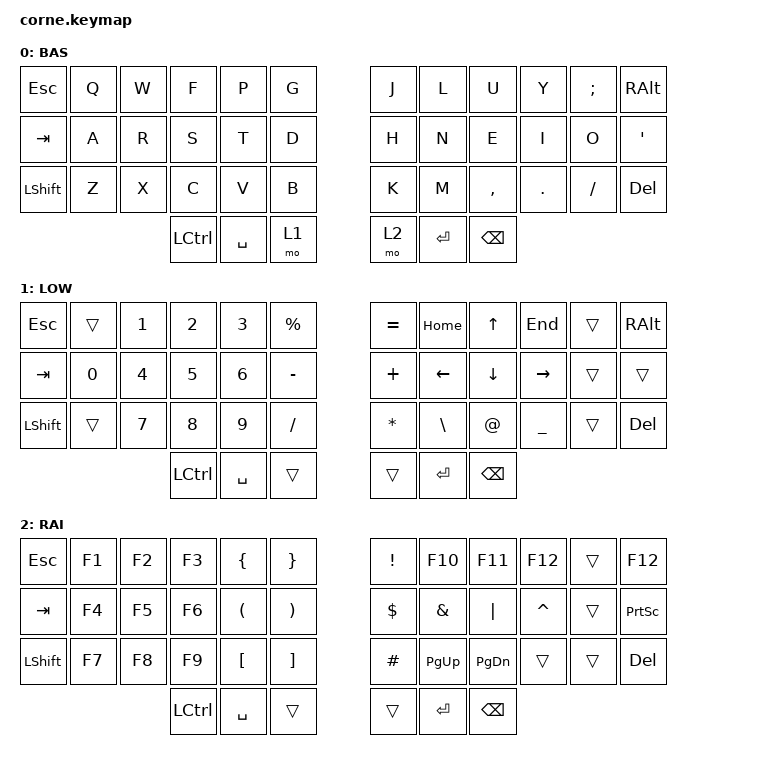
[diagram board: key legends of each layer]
/*
 * Copyright (c) 2020 The ZMK Contributors
 *
 * SPDX-License-Identifier: MIT
 */

#include <dt-bindings/led/led.h>
#include <dt-bindings/zmk/reset.h>
#include <behaviors.dtsi>
#include <dt-bindings/zmk/keys.h>

&led_strip { chain-length = <27>; };

/ {
    keymap {
        compatible = "zmk,keymap";

        default_layer {
            display-name = "BAS";

            // -----------------------------------------------------------------------------------------
            // |  TAB |  Q  |  W  |  E  |  R  |  T  |   |  Y  |  U   |  I  |  O  |  P  | BKSP |
            // | CTRL |  A  |  S  |  D  |  F  |  G  |   |  H  |  J   |  K  |  L  |  ;  |  '   |
            // | SHFT |  Z  |  X  |  C  |  V  |  B  |   |  N  |  M   |  ,  |  .  |  /  | ESC  |
            //                    | GUI | LWR | SPC |   | ENT | RSE  | ALT |

            bindings = <
&kp ESCAPE      &kp Q  &kp W  &kp F             &kp P      &kp G    &kp J  &kp L      &kp U          &kp Y    &kp SEMICOLON  &kp RIGHT_ALT
&kp TAB         &kp A  &kp R  &kp S             &kp T      &kp D    &kp H  &kp N      &kp E          &kp I    &kp O          &kp SQT
&kp LEFT_SHIFT  &kp Z  &kp X  &kp C             &kp V      &kp B    &kp K  &kp M      &kp COMMA      &kp DOT  &kp FSLH       &kp DELETE
                              &kp LEFT_CONTROL  &kp SPACE  &mo 1    &mo 2  &kp ENTER  &kp BACKSPACE
            >;
        };

        lower_layer {
            display-name = "LOW";

            // -----------------------------------------------------------------------------------------
            // |  TAB |  1  |  2  |  3  |  4  |  5  |   |  6  |  7  |  8  |  9  |  0  | BKSP |
            // | BTCLR| BT1 | BT2 | BT3 | BT4 | BT5 |   | LFT | DWN |  UP | RGT |     |      |
            // | SHFT |     |     |     |     |     |   |     |     |     |     |     |      |
            //                    | GUI |     | SPC |   | ENT |     | ALT |

            bindings = <
&kp ESCAPE  &trans  &kp N1  &kp N2            &kp N3     &kp PERCENT    &kp EQUAL     &kp HOME       &kp UP         &kp END         &trans  &kp RIGHT_ALT
&kp TAB     &kp N0  &kp N4  &kp N5            &kp N6     &kp MINUS      &kp PLUS      &kp LEFT       &kp DOWN       &kp RIGHT       &trans  &trans
&kp LSHFT   &trans  &kp N7  &kp N8            &kp N9     &kp SLASH      &kp ASTERISK  &kp BACKSLASH  &kp AT         &kp UNDERSCORE  &trans  &kp DELETE
                            &kp LEFT_CONTROL  &kp SPACE  &trans         &trans        &kp ENTER      &kp BACKSPACE
            >;
        };

        raise_layer {
            display-name = "RAI";

            // -----------------------------------------------------------------------------------------
            // |  TAB |  !  |  @  |  #  |  $  |  %  |   |  ^  |  &  |  *  |  (  |  )  | BKSP |
            // | CTRL |     |     |     |     |     |   |  -  |  =  |  [  |  ]  |  \  |  `   |
            // | SHFT |     |     |     |     |     |   |  _  |  +  |  {  |  }  | "|" |  ~   |
            //                    | GUI |     | SPC |   | ENT |     | ALT |

            bindings = <
&kp ESCAPE  &kp F1  &kp F2  &kp F3            &kp LEFT_BRACE        &kp RIGHT_BRACE          &kp EXCLAMATION  &kp F10    &kp F11        &kp F12    &trans  &kp F12
&kp TAB     &kp F4  &kp F5  &kp F6            &kp LEFT_PARENTHESIS  &kp RIGHT_PARENTHESIS    &kp DLLR         &kp AMPS   &kp PIPE       &kp CARET  &trans  &kp PRINTSCREEN
&kp LSHFT   &kp F7  &kp F8  &kp F9            &kp LBKT              &kp RBKT                 &kp HASH         &kp PG_UP  &kp PAGE_DOWN  &trans     &trans  &kp DELETE
                            &kp LEFT_CONTROL  &kp SPACE             &trans                   &trans           &kp ENTER  &kp BACKSPACE
            >;
        };
    };
};
